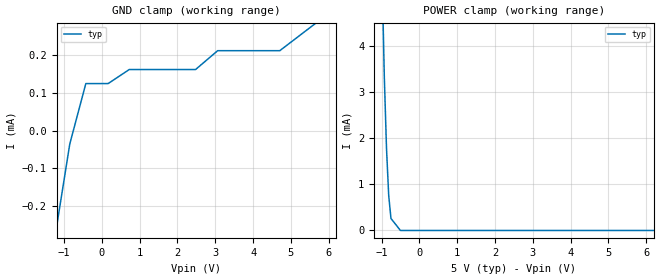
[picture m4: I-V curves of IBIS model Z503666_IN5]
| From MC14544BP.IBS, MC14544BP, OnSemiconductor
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| (C) COPYRIGHT 1993-2000
| MENTOR GRAPHICS CORPORATION
| ICX STANDARD LIBRARY, ICX PROJECT MODELING,
| ICX CUSTOM MODELING, ICX VENDOR MODEL
| ALL RIGHTS RESERVED.
| THE FOLLOWING ARE TRADEMARKS OR SERVICE MARKS OF
| MENTOR GRAPHICS CORPORATION:ICX (R), ICX STANDARD
| LIBRARY(R), ICX PROJECT MODELING(R), ICX CUSTOM
| MODELING(R), qualityIBIS(TM), MODELVIEWER(TM),
| AND MODELEDITOR(TM)
| ALL COPIES OF SOFTWARE, INCLUDING BUT NOT LIMITED TO
| ANY MODIFICATIONS, ENHANCEMENTS OR DERIVATIVE WORKS,
| MUST CONTAIN ALL MENTOR GRAPHICS CORPORATION'S
| NOTICES AND LEGENDS, INCLUDING THOSE EMBEDDED IN
| SOFTWARE AND THOSE AFFIXED TO SOFTWARE MEDIUM
| AND CONTAINER, AS RECEIVED FROM MENTOR GRAPHICS
| CORPORATION.
| Model Application Version 1.89 2/18/99.
[Model] Z503666_IN5
Model_type Input
Vinl = 1.500V
Vinh = 3.500V
C_comp 4.000pF NA NA
| variable typ   min   max
[Voltage Range] 5.000V NA NA
[GND Clamp Reference] 0.000V NA NA
[POWER Clamp Reference] 5.000V NA NA
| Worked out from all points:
|   POWER clamp passes 1 mA (typ) near -0.83 V on its own axis
[GND Clamp]
-5V       -2.636mA   NA         NA
-849.2mV  -35.35uA   NA         NA
-424.6mV  123.9uA    NA         NA
166.5mV   123.9uA    NA         NA
723.6mV   160.9uA    NA         NA
2.478V    160.9uA    NA         NA
3.063V    210.6uA    NA         NA
4.706V    210.6uA    NA         NA
10V       613.6uA    NA         NA
[POWER Clamp]
-5V       273.1mA    NA         NA
-1.215V   17.41mA    NA         NA
-1.007V   6.285mA    NA         NA
-928mV    3.335mA    NA         NA
-870mV    1.784mA    NA         NA
-812mV    761.2uA    NA         NA
-752mV    260.3uA    NA         NA
-501.3mV  0A         NA         NA
10V       0A         NA         NA
